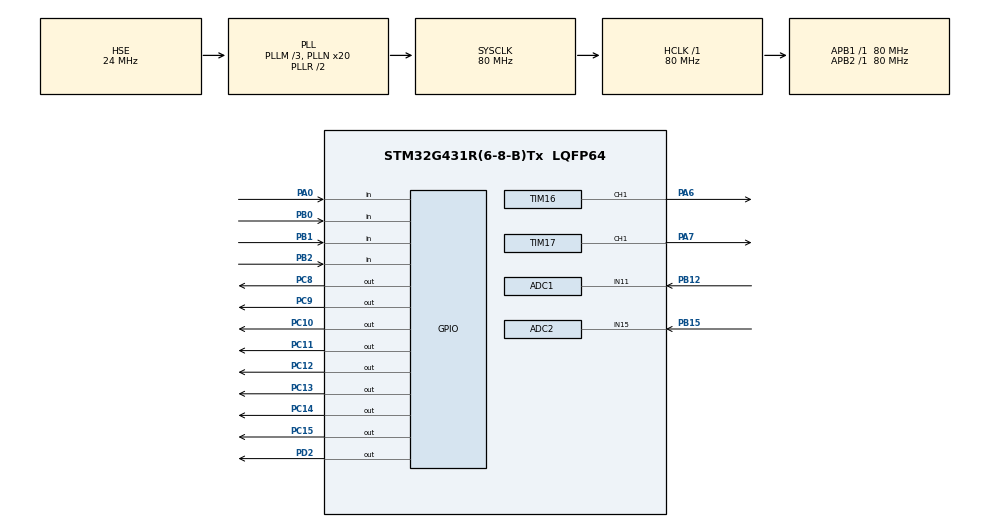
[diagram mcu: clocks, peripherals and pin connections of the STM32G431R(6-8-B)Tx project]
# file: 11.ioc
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ADC1.Channel-1\#ChannelRegularConversion=ADC_CHANNEL_11
ADC1.NbrOfConversionFlag=1
ADC1.OffsetNumber-1\#ChannelRegularConversion=ADC_OFFSET_NONE
ADC1.Rank-1\#ChannelRegularConversion=1
ADC1.SamplingTime-1\#ChannelRegularConversion=ADC_SAMPLETIME_2CYCLES_5
ADC1.master=1
ADC2.Channel-1\#ChannelRegularConversion=ADC_CHANNEL_15
ADC2.NbrOfConversionFlag=1
ADC2.OffsetNumber-1\#ChannelRegularConversion=ADC_OFFSET_NONE
ADC2.Rank-1\#ChannelRegularConversion=1
ADC2.SamplingTime-1\#ChannelRegularConversion=ADC_SAMPLETIME_2CYCLES_5
Mcu.Family=STM32G4
Mcu.Name=STM32G431R(6-8-B)Tx
Mcu.Package=LQFP64
NVIC.PriorityGroup=NVIC_PRIORITYGROUP_4
NVIC.TIM4_IRQn=true\:0\:0\:false\:false\:true\:true\:true
PA0.GPIO_Mode=GPIO_MODE_INPUT
PA0.GPIO_PuPd=GPIO_PULLUP
PA0.Signal=GPIO_Input
PA13.Mode=Serial_Wire
PA13.Signal=SYS_JTMS-SWDIO
PA14.Mode=Serial_Wire
PA14.Signal=SYS_JTCK-SWCLK
PA6.Signal=S_TIM16_CH1
PA7.Signal=S_TIM17_CH1
PB0.GPIO_Mode=GPIO_MODE_INPUT
PB0.GPIO_PuPd=GPIO_PULLUP
PB0.Signal=GPIO_Input
PB1.GPIO_Mode=GPIO_MODE_INPUT
PB1.GPIO_PuPd=GPIO_PULLUP
PB1.Signal=GPIO_Input
PB12.Mode=IN11-Single-Ended
PB12.Signal=ADC1_IN11
PB15.Mode=IN15-Single-Ended
PB15.Signal=ADC2_IN15
PB2.GPIO_Mode=GPIO_MODE_INPUT
PB2.GPIO_PuPd=GPIO_PULLUP
PB2.Signal=GPIO_Input
PC10.PinState=GPIO_PIN_SET
PC10.Signal=GPIO_Output
PC11.PinState=GPIO_PIN_SET
PC11.Signal=GPIO_Output
PC12.PinState=GPIO_PIN_SET
PC12.Signal=GPIO_Output
PC13.PinState=GPIO_PIN_SET
PC13.Signal=GPIO_Output
PC14-OSC32_IN.PinState=GPIO_PIN_SET
PC14-OSC32_IN.Signal=GPIO_Output
PC15-OSC32_OUT.PinState=GPIO_PIN_SET
PC15-OSC32_OUT.Signal=GPIO_Output
PC8.PinState=GPIO_PIN_SET
PC8.Signal=GPIO_Output
PC9.PinState=GPIO_PIN_SET
PC9.Signal=GPIO_Output
PD2.Signal=GPIO_Output
PF0-OSC_IN.Mode=HSE-External-Oscillator
PF0-OSC_IN.Signal=RCC_OSC_IN
PF1-OSC_OUT.Mode=HSE-External-Oscillator
PF1-OSC_OUT.Signal=RCC_OSC_OUT
ProjectManager.HeapSize=0x200
ProjectManager.StackSize=0x400
ProjectManager.TargetToolchain=MDK-ARM V5
RCC.ADC12Freq_Value=80000000
RCC.AHBFreq_Value=80000000
RCC.APB1Freq_Value=80000000
RCC.APB1TimFreq_Value=80000000
RCC.APB2Freq_Value=80000000
RCC.APB2TimFreq_Value=80000000
RCC.CortexFreq_Value=80000000
RCC.EXTERNAL_CLOCK_VALUE=12288000
RCC.HCLKFreq_Value=80000000
RCC.HSE_VALUE=24000000
RCC.HSI48_VALUE=48000000
RCC.HSI_VALUE=16000000
RCC.LSE_VALUE=32768
RCC.PLLM=RCC_PLLM_DIV3
RCC.PLLN=20
RCC.PLLSourceVirtual=RCC_PLLSOURCE_HSE
RCC.SYSCLKFreq_VALUE=80000000
RCC.SYSCLKSource=RCC_SYSCLKSOURCE_PLLCLK
RCC.USBFreq_Value=80000000
RCC.VCOOutputFreq_Value=160000000
SH.S_TIM16_CH1.0=TIM16_CH1,PWM Generation1 CH1
SH.S_TIM17_CH1.0=TIM17_CH1,PWM Generation1 CH1
TIM16.Channel=TIM_CHANNEL_1
TIM16.PeriodNoDither=1000-1
TIM16.Prescaler=800-1
TIM16.PulseNoDither_1=20
TIM17.Channel=TIM_CHANNEL_1
TIM17.PeriodNoDither=1000-1
TIM17.Prescaler=400-1
TIM17.PulseNoDither_1=20
TIM4.PeriodNoDither=10000-1
TIM4.Prescaler=80-1
VP_SYS_VS_DBSignals.Mode=DisableDeadBatterySignals
VP_TIM16_VS_ClockSourceINT.Mode=Enable_Timer
VP_TIM17_VS_ClockSourceINT.Mode=Enable_Timer
VP_TIM4_VS_ClockSourceINT.Mode=Internal
board=custom

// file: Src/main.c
/* USER CODE BEGIN Header */
/**
  ******************************************************************************
  * @file           : main.c
  * @brief          : Main program body
  ******************************************************************************
  * @attention
  *
  * <h2><center>&copy; Copyright (c) 2024 STMicroelectronics.
  * All rights reserved.</center></h2>
  *
  * This software component is licensed by ST under BSD 3-Clause license,
  * the "License"; You may not use this file except in compliance with the
  * License. You may obtain a copy of the License at:
  *                        opensource.org/licenses/BSD-3-Clause
  *
  ******************************************************************************
  */
/* USER CODE END Header */

#include "main.h"
#include "adc.h"
#include "tim.h"
#include "gpio.h"

/* USER CODE BEGIN Includes */
#include "stdio.h"
#include "led.h"
#include "key.h"
#include "lcd.h"
#include "myfile.h"
#include "hadc.h"
/* USER CODE END Includes */

/* USER CODE BEGIN PD */
#define uchar unsigned char
#define uint unsigned int
/* USER CODE END PD */

/* USER CODE BEGIN PV */
//标明按下的键是哪个键 例如 signal=0  --- 按下B1键
uint signal=100;

//标明当前所处界面是数据界面还是参数界面  view_chart=0---数据界面显示			view_chart=1---参数界面显示
uint view_chart=0;
uint menu_mode=0;	//运行模式的标志		0--自动模式		1--手动模式
char text[30];
uint pa6_duty=10;
uint pa7_duty=10;
float volt;
uint count=0;
//保存两种运行模式的显示部分

/* USER CODE END PV */

void SystemClock_Config(void);

int main(void)
{

  /* MCU Configuration--------------------------------------------------------*/

  /* Reset of all peripherals, Initializes the Flash interface and the Systick. */
  HAL_Init();

  /* Configure the system clock */
  SystemClock_Config();

  /* Initialize all configured peripherals */
  MX_GPIO_Init();
  MX_TIM4_Init();
  MX_TIM16_Init();
  MX_TIM17_Init();
  MX_ADC1_Init();
  MX_ADC2_Init();
  /* USER CODE BEGIN 2 */
	LCD_Init();		//LCD初始化

	LCD_Clear(Black);
	LCD_SetBackColor(Black);
	LCD_SetTextColor(White);

	//打开定时器TIM4
	HAL_TIM_Base_Start_IT(&htim4);
	//打开pwm输出
	HAL_TIM_PWM_Start(&htim16,TIM_CHANNEL_1);
	HAL_TIM_PWM_Start(&htim17,TIM_CHANNEL_1);
	//上电初始化
	data_menu_show(getADC(&hadc1),menu_mode);

  /* USER CODE END 2 */

  /* Infinite loop */
  while (1)
  {

    /* USER CODE BEGIN 3 */

			Work();

  }
  /* USER CODE END 3 */
}

void SystemClock_Config(void)
{
  RCC_OscInitTypeDef RCC_OscInitStruct = {0};
  RCC_ClkInitTypeDef RCC_ClkInitStruct = {0};
  RCC_PeriphCLKInitTypeDef PeriphClkInit = {0};

  /** Configure the main internal regulator output voltage
  */
  HAL_PWREx_ControlVoltageScaling(PWR_REGULATOR_VOLTAGE_SCALE1);
  /** Initializes the CPU, AHB and APB busses clocks
  */
  RCC_OscInitStruct.OscillatorType = RCC_OSCILLATORTYPE_HSE;
  RCC_OscInitStruct.HSEState = RCC_HSE_ON;
  RCC_OscInitStruct.PLL.PLLState = RCC_PLL_ON;
  RCC_OscInitStruct.PLL.PLLSource = RCC_PLLSOURCE_HSE;
  RCC_OscInitStruct.PLL.PLLM = RCC_PLLM_DIV3;
  RCC_OscInitStruct.PLL.PLLN = 20;
  RCC_OscInitStruct.PLL.PLLP = RCC_PLLP_DIV2;
  RCC_OscInitStruct.PLL.PLLQ = RCC_PLLQ_DIV2;
  RCC_OscInitStruct.PLL.PLLR = RCC_PLLR_DIV2;
  if (HAL_RCC_OscConfig(&RCC_OscInitStruct) != HAL_OK)
  {
    Error_Handler();
  }
  /** Initializes the CPU, AHB and APB busses clocks
  */
  RCC_ClkInitStruct.ClockType = RCC_CLOCKTYPE_HCLK|RCC_CLOCKTYPE_SYSCLK
                              |RCC_CLOCKTYPE_PCLK1|RCC_CLOCKTYPE_PCLK2;
  RCC_ClkInitStruct.SYSCLKSource = RCC_SYSCLKSOURCE_PLLCLK;
  RCC_ClkInitStruct.AHBCLKDivider = RCC_SYSCLK_DIV1;
  RCC_ClkInitStruct.APB1CLKDivider = RCC_HCLK_DIV1;
  RCC_ClkInitStruct.APB2CLKDivider = RCC_HCLK_DIV1;

  if (HAL_RCC_ClockConfig(&RCC_ClkInitStruct, FLASH_LATENCY_3) != HAL_OK)
  {
    Error_Handler();
  }
  /** Initializes the peripherals clocks
  */
  PeriphClkInit.PeriphClockSelection = RCC_PERIPHCLK_ADC12;
  PeriphClkInit.Adc12ClockSelection = RCC_ADC12CLKSOURCE_SYSCLK;
  if (HAL_RCCEx_PeriphCLKConfig(&PeriphClkInit) != HAL_OK)
  {
    Error_Handler();
  }
}

void Error_Handler(void)
{
}

/************************ (C) COPYRIGHT STMicroelectronics *****END OF FILE****/
